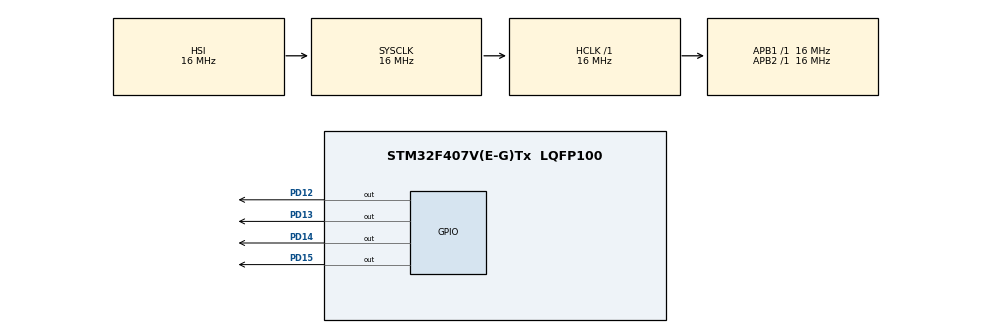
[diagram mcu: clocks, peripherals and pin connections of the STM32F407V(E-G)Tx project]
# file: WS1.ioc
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Mcu.Family=STM32F4
Mcu.Name=STM32F407V(E-G)Tx
Mcu.Package=LQFP100
NVIC.PriorityGroup=NVIC_PRIORITYGROUP_4
PD12.Signal=GPIO_Output
PD13.Signal=GPIO_Output
PD14.Signal=GPIO_Output
PD15.Signal=GPIO_Output
ProjectManager.HeapSize=0x200
ProjectManager.StackSize=0x400
ProjectManager.TargetToolchain=STM32CubeIDE
RCC.AHBFreq_Value=16000000
RCC.APB1Freq_Value=16000000
RCC.APB2Freq_Value=16000000
RCC.CortexFreq_Value=16000000
RCC.HSE_VALUE=25000000
RCC.HSI_VALUE=16000000
RCC.LSE_VALUE=32768
RCC.SYSCLKFreq_VALUE=16000000
RCC.VCOOutputFreq_Value=192000000
board=custom

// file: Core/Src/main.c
/* USER CODE BEGIN Header */
/**
  ******************************************************************************
  * @file           : main.c
  * @brief          : Main program body
  ******************************************************************************
  * @attention
  *
  * Copyright (c) 2026 STMicroelectronics.
  * All rights reserved.
  *
  * This software is licensed under terms that can be found in the LICENSE file
  * in the root directory of this software component.
  * If no LICENSE file comes with this software, it is provided AS-IS.
  *
  ******************************************************************************
  */
/* USER CODE END Header */
#include "main.h"

void SystemClock_Config(void);
static void MX_GPIO_Init(void);

int main(void)
{

  /* MCU Configuration--------------------------------------------------------*/

  /* Reset of all peripherals, Initializes the Flash interface and the Systick. */
  HAL_Init();

  /* Configure the system clock */
  SystemClock_Config();

  /* Initialize all configured peripherals */
  MX_GPIO_Init();

  /* Infinite loop */
  while (1)
  {

    /* USER CODE BEGIN 3 */
	HAL_GPIO_WritePin(GPIOD, GPIO_PIN_12, GPIO_PIN_SET);
	HAL_Delay(150);
	HAL_GPIO_WritePin(GPIOD, GPIO_PIN_13, GPIO_PIN_SET);
	HAL_Delay(150);
	HAL_GPIO_WritePin(GPIOD, GPIO_PIN_14, GPIO_PIN_SET);
	HAL_Delay(150);
	HAL_GPIO_WritePin(GPIOD, GPIO_PIN_15, GPIO_PIN_SET);
	HAL_Delay(150);
	HAL_GPIO_WritePin(GPIOD, GPIO_PIN_12 | GPIO_PIN_13 | GPIO_PIN_14 | GPIO_PIN_15, GPIO_PIN_RESET);
	HAL_Delay(150);

	for (int i = 0; i < 6; i++) {
		if (i % 2 == 0) {
			HAL_GPIO_WritePin(GPIOD, GPIO_PIN_12 | GPIO_PIN_14, GPIO_PIN_SET);
			HAL_Delay(100);
			HAL_GPIO_WritePin(GPIOD, GPIO_PIN_12 | GPIO_PIN_14, GPIO_PIN_RESET);
		} else {
			HAL_GPIO_WritePin(GPIOD, GPIO_PIN_13 | GPIO_PIN_15, GPIO_PIN_SET);
			HAL_Delay(100);
			HAL_GPIO_WritePin(GPIOD, GPIO_PIN_13 | GPIO_PIN_15, GPIO_PIN_RESET);
		}
	}

	HAL_Delay(150);
	HAL_GPIO_WritePin(GPIOD, GPIO_PIN_12 | GPIO_PIN_13 | GPIO_PIN_14 | GPIO_PIN_15, GPIO_PIN_SET);
	HAL_Delay(250);

	for (int i = 0; i < 6; i++) {
		if (i % 2 == 0) {
			HAL_GPIO_WritePin(GPIOD, GPIO_PIN_12 | GPIO_PIN_13, GPIO_PIN_SET);
			HAL_Delay(100);
			HAL_GPIO_WritePin(GPIOD, GPIO_PIN_12 | GPIO_PIN_13, GPIO_PIN_RESET);
		} else {
			HAL_GPIO_WritePin(GPIOD, GPIO_PIN_14 | GPIO_PIN_15, GPIO_PIN_SET);
			HAL_Delay(100);
			HAL_GPIO_WritePin(GPIOD, GPIO_PIN_14 | GPIO_PIN_15, GPIO_PIN_RESET);
		}
	}

	HAL_Delay(150);
	HAL_GPIO_WritePin(GPIOD, GPIO_PIN_12 | GPIO_PIN_13 | GPIO_PIN_14 | GPIO_PIN_15, GPIO_PIN_SET);
	HAL_Delay(250);
	HAL_GPIO_WritePin(GPIOD, GPIO_PIN_12 | GPIO_PIN_13 | GPIO_PIN_14 | GPIO_PIN_15, GPIO_PIN_RESET);
	HAL_Delay(350);
  }
  /* USER CODE END 3 */
}

void SystemClock_Config(void)
{
  RCC_OscInitTypeDef RCC_OscInitStruct = {0};
  RCC_ClkInitTypeDef RCC_ClkInitStruct = {0};

  /** Configure the main internal regulator output voltage
  */
  __HAL_RCC_PWR_CLK_ENABLE();
  __HAL_PWR_VOLTAGESCALING_CONFIG(PWR_REGULATOR_VOLTAGE_SCALE1);

  /** Initializes the RCC Oscillators according to the specified parameters
  * in the RCC_OscInitTypeDef structure.
  */
  RCC_OscInitStruct.OscillatorType = RCC_OSCILLATORTYPE_HSI;
  RCC_OscInitStruct.HSIState = RCC_HSI_ON;
  RCC_OscInitStruct.HSICalibrationValue = RCC_HSICALIBRATION_DEFAULT;
  RCC_OscInitStruct.PLL.PLLState = RCC_PLL_NONE;
  if (HAL_RCC_OscConfig(&RCC_OscInitStruct) != HAL_OK)
  {
    Error_Handler();
  }

  /** Initializes the CPU, AHB and APB buses clocks
  */
  RCC_ClkInitStruct.ClockType = RCC_CLOCKTYPE_HCLK|RCC_CLOCKTYPE_SYSCLK
                              |RCC_CLOCKTYPE_PCLK1|RCC_CLOCKTYPE_PCLK2;
  RCC_ClkInitStruct.SYSCLKSource = RCC_SYSCLKSOURCE_HSI;
  RCC_ClkInitStruct.AHBCLKDivider = RCC_SYSCLK_DIV1;
  RCC_ClkInitStruct.APB1CLKDivider = RCC_HCLK_DIV1;
  RCC_ClkInitStruct.APB2CLKDivider = RCC_HCLK_DIV1;

  if (HAL_RCC_ClockConfig(&RCC_ClkInitStruct, FLASH_LATENCY_0) != HAL_OK)
  {
    Error_Handler();
  }
}

static void MX_GPIO_Init(void)
{
  GPIO_InitTypeDef GPIO_InitStruct = {0};

  /* GPIO Ports Clock Enable */
  __HAL_RCC_GPIOD_CLK_ENABLE();

  /*Configure GPIO pin Output Level */
  HAL_GPIO_WritePin(GPIOD, GPIO_PIN_12|GPIO_PIN_13|GPIO_PIN_14|GPIO_PIN_15, GPIO_PIN_RESET);

  /*Configure GPIO pins : PD12 PD13 PD14 PD15 */
  GPIO_InitStruct.Pin = GPIO_PIN_12|GPIO_PIN_13|GPIO_PIN_14|GPIO_PIN_15;
  GPIO_InitStruct.Mode = GPIO_MODE_OUTPUT_PP;
  GPIO_InitStruct.Pull = GPIO_NOPULL;
  GPIO_InitStruct.Speed = GPIO_SPEED_FREQ_LOW;
  HAL_GPIO_Init(GPIOD, &GPIO_InitStruct);

}

void Error_Handler(void)
{
  __disable_irq();
  while (1)
  {
  }
}
